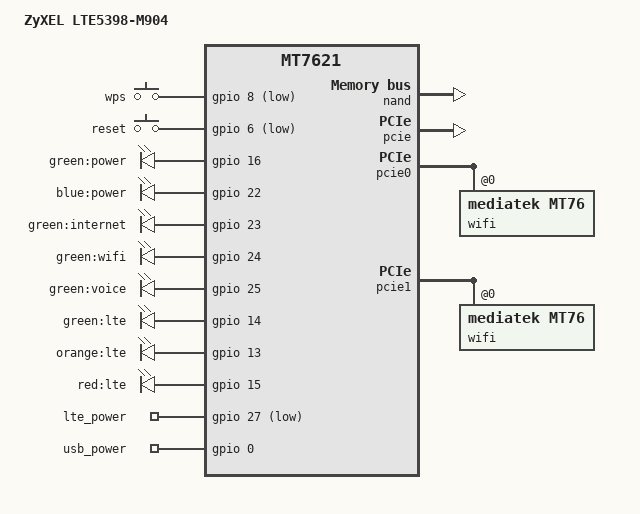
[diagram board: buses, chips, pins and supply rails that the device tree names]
// SPDX-License-Identifier: GPL-2.0-or-later

#include "mt7621.dtsi"

#include <dt-bindings/gpio/gpio.h>
#include <dt-bindings/input/input.h>

/ {
	compatible = "zyxel,lte5398-m904", "mediatek,mt7621-soc";
	model = "ZyXEL LTE5398-M904";

	aliases {
		label-mac-device = &gmac0;
		led-boot = &led_power_green;
		led-failsafe = &led_power_green;
		led-running = &led_power_green;
		led-upgrade = &led_power_green;
	};

	keys {
		compatible = "gpio-keys";

		wps {
			label = "wps";
			gpios = <&gpio 8 GPIO_ACTIVE_LOW>;
			linux,code = <KEY_WPS_BUTTON>;
		};

		reset {
			label = "reset";
			gpios = <&gpio 6 GPIO_ACTIVE_LOW>;
			linux,code = <KEY_RESTART>;
		};
	};

	leds {
		compatible = "gpio-leds";

		led_power_green: power_green {
			label = "green:power";
			gpios = <&gpio 16 GPIO_ACTIVE_HIGH>;
		};

		power_blue {
			label = "blue:power";
			gpios = <&gpio 22 GPIO_ACTIVE_HIGH>;
			linux,default-trigger = "usbport";
			trigger-sources = <&ehci_port2>;
		};

		internet {
			label = "green:internet";
			gpios = <&gpio 23 GPIO_ACTIVE_HIGH>;
		};

		wifi {
			label = "green:wifi";
			gpios = <&gpio 24 GPIO_ACTIVE_HIGH>;
			linux,default-trigger = "phy0tpt";
		};

		voice {
			label = "green:voice";
			gpios = <&gpio 25 GPIO_ACTIVE_HIGH>;
		};

		lte_green {
			label = "green:lte";
			gpios = <&gpio 14 GPIO_ACTIVE_HIGH>;
		};

		lte_orange {
			label = "orange:lte";
			gpios = <&gpio 13 GPIO_ACTIVE_HIGH>;
		};

		lte_red {
			label = "red:lte";
			gpios = <&gpio 15 GPIO_ACTIVE_HIGH>;
		};
	};

	gpio_export {
		compatible = "gpio-export";
		#size-cells = <0>;

		lte_power {
			gpio-export,name = "lte_power";
			gpio-export,output = <0>;
			gpios = <&gpio 27 GPIO_ACTIVE_LOW>;
		};

		usb_power {
			gpio-export,name = "usb_power";
			gpio-export,output = <1>;
			gpios = <&gpio 0 GPIO_ACTIVE_HIGH>;
		};
	};
};

&nand {
	status = "okay";

	partitions {
		compatible = "fixed-partitions";
		#address-cells = <1>;
		#size-cells = <1>;

		partition@0 {
			label = "Bootloader";
			reg = <0x0 0x80000>;
			read-only;
		};

		partition@80000 {
			label = "Config";
			reg = <0x80000 0x80000>;
		};

		factory: partition@100000 {
			label = "Factory";
			reg = <0x100000 0x40000>;
			read-only;

			nvmem-layout {
				compatible = "fixed-layout";
				#address-cells = <1>;
				#size-cells = <1>;

				eeprom_factory_0: eeprom@0 {
					reg = <0x0 0x400>;
				};

				eeprom_factory_8000: eeprom@8000 {
					reg = <0x8000 0x4da8>;
				};

				macaddr_factory_fe6e: macaddr@fe6e {
					reg = <0xfe6e 0x6>;
				};
			};
		};

		partition@140000 {
			label = "Kernel";
			reg = <0x140000 0x1ec0000>;
		};

		partition@540000 {
			label = "ubi";
			reg = <0x540000 0x1ac0000>;
		};

		partition@2140000 {
			label = "Kernel2";
			reg = <0x2140000 0x1ec0000>;
		};

		partition@4000000 {
			label = "wwan";
			reg = <0x4000000 0x100000>;
		};

		partition@4100000 {
			label = "data";
			reg = <0x4100000 0x1000000>;
		};

		partition@5100000 {
			label = "rom-d";
			reg = <0x5100000 0x100000>;
			read-only;
		};

		partition@5200000 {
			label = "reserve";
			reg = <0x5200000 0x80000>;
		};
	};
};

&pcie {
	status = "okay";
};

&ethernet {
	pinctrl-0 = <&mdio_pins>, <&rgmii1_pins>;
};

&state_default {
	gpio {
		groups = "i2c", "rgmii2", "uart3", "jtag", "wdt";
		function = "gpio";
	};
};

&gmac0 {
	nvmem-cells = <&macaddr_factory_fe6e>;
	nvmem-cell-names = "mac-address";
};

&switch0 {
	ports {
		port@0 {
			status = "okay";
			label = "lan1";
		};
		port@2 {
			status = "okay";
			label = "lan2";
		};
	};
};

&pcie0 {
	wifi@0,0 {
		compatible = "mediatek,mt76";
		reg = <0x0000 0 0 0 0>;
		nvmem-cells = <&eeprom_factory_0>;
		nvmem-cell-names = "eeprom";
	};
};

&pcie1 {
	wifi@0,0 {
		compatible = "mediatek,mt76";
		reg = <0x0000 0 0 0 0>;
		nvmem-cells = <&eeprom_factory_8000>;
		nvmem-cell-names = "eeprom";
	};
};
